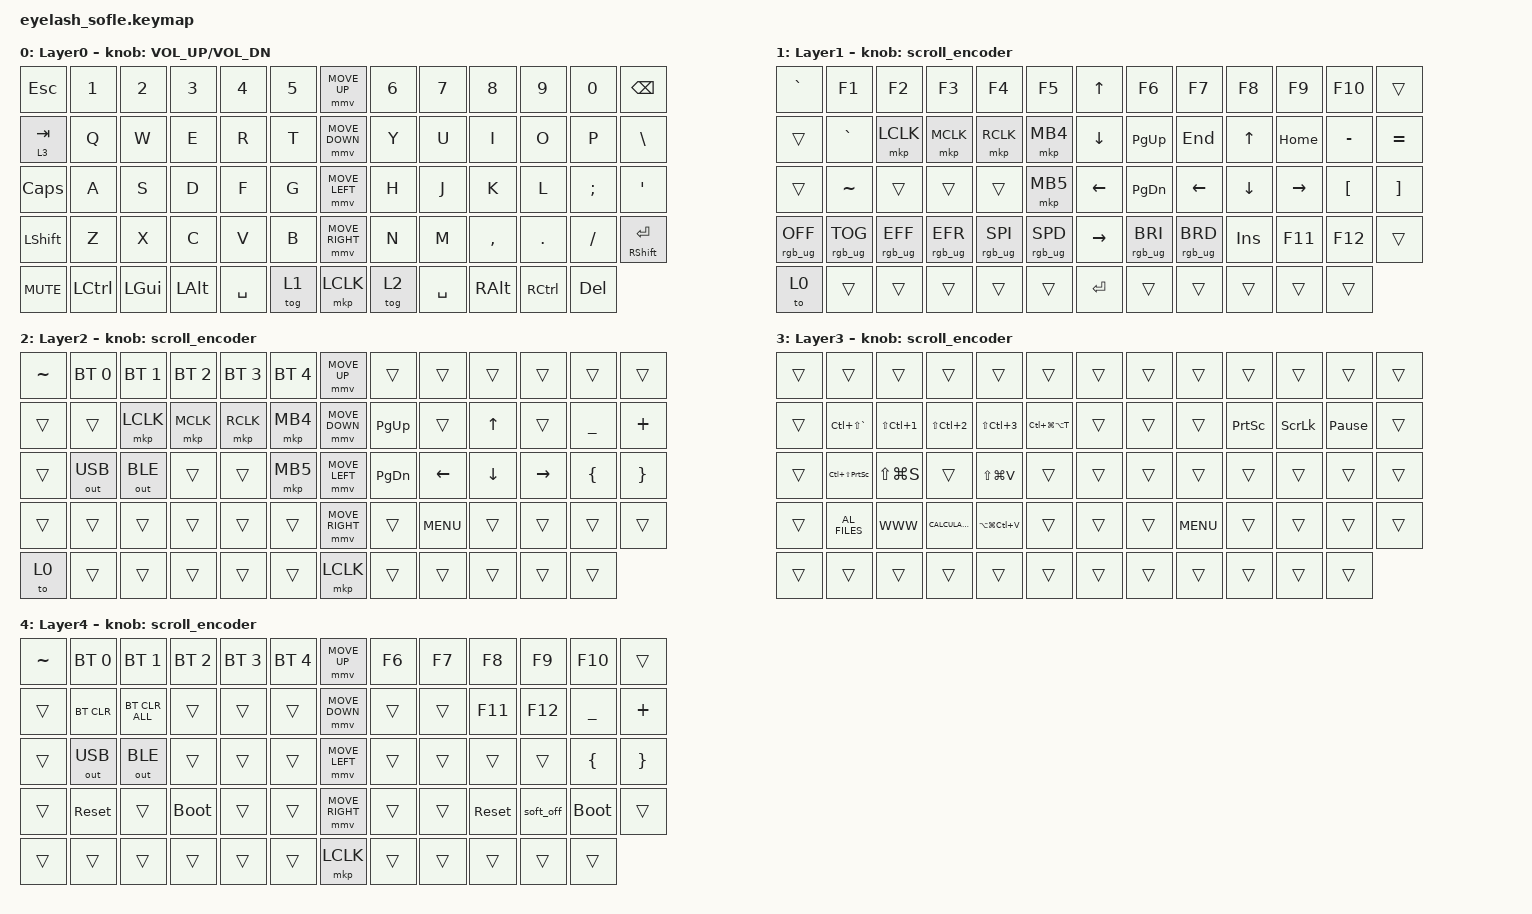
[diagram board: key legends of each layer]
#define ZMK_POINTING_DEFAULT_MOVE_VAL 1200  // 600
#define ZMK_POINTING_DEFAULT_SCRL_VAL 25   // 10

#include <input/processors.dtsi>
#include <zephyr/dt-bindings/input/input-event-codes.h>
#include <behaviors.dtsi>
#include <dt-bindings/zmk/bt.h>
#include <dt-bindings/zmk/keys.h>
#include <dt-bindings/zmk/outputs.h>
#include <dt-bindings/zmk/pointing.h>
#include <dt-bindings/zmk/rgb.h>

&mmv_input_listener { input-processors = <&zip_xy_scaler 2 1>; };

&msc_input_listener { input-processors = <&zip_scroll_scaler 2 1>; };

&msc {
    acceleration-exponent = <1>;      // 0
    time-to-max-speed-ms = <100>;       // 300
    delay-ms = <0>;                   // 0
};

&mmv {
    time-to-max-speed-ms = <500>;
    acceleration-exponent = <1>;
    trigger-period-ms = <16>;
};

&soft_off { hold-time-ms = <2000>; };

/ {
    scroll_encoder: scroll_encoder {
        compatible = "zmk,behavior-sensor-rotate";
        #sensor-binding-cells = <0>;
        bindings = <&msc SCRL_DOWN>, <&msc SCRL_UP>;

        tap-ms = <100>;
    };

    behaviors {
    };

    combos {
        compatible = "zmk,combos";

        softoff {
            bindings = <&soft_off>;
            key-positions = <40 53 54>;
        };
    };

    macros {
        SHIFT_MCLK: SHIFT_MCLK {
            compatible = "zmk,behavior-macro";
            #binding-cells = <0>;
            bindings =
                <&macro_press>,
                <&kp LEFT_SHIFT>,
                <&macro_press>,
                <&mkp MB3>,
                <&macro_pause_for_release>,
                <&macro_release>,
                <&kp LEFT_SHIFT &mkp MB3>;

            label = "SHIFT_MCLK";
        };
    };

    keymap {
        compatible = "zmk,keymap";

        layer_0 {
            bindings = <
&kp ESC     &kp N1     &kp N2        &kp N3        &kp N4     &kp N5    &mmv MOVE_UP     &kp N6  &kp N7     &kp N8         &kp N9     &kp N0      &kp BACKSPACE
&lt 3 TAB   &kp Q      &kp W         &kp E         &kp R      &kp T     &mmv MOVE_DOWN   &kp Y   &kp U      &kp I          &kp O      &kp P       &kp BSLH
&kp CAPS    &kp A      &kp S         &kp D         &kp F      &kp G     &mmv MOVE_LEFT   &kp H   &kp J      &kp K          &kp L      &kp SEMI    &kp APOS
&kp LSHFT   &kp Z      &kp X         &kp C         &kp V      &kp B     &mmv MOVE_RIGHT  &kp N   &kp M      &kp COMMA      &kp DOT    &kp FSLH    &mt RIGHT_SHIFT ENTER
&kp C_MUTE  &kp LCTRL  &kp LEFT_GUI  &kp LEFT_ALT  &kp SPACE  &tog 1    &mkp LCLK        &tog 2  &kp SPACE  &kp RIGHT_ALT  &kp RCTRL  &kp DELETE
            >;

            sensor-bindings = <&inc_dec_kp C_VOLUME_UP C_VOL_DN>;
            display-name = "Layer0";
        };

        layer_1 {
            bindings = <
&kp GRAVE        &kp F1           &kp F2           &kp F3           &kp F4           &kp F5             &kp UP     &kp F6           &kp F7           &kp F8      &kp F9     &kp F10           &trans
&trans           &kp GRAVE        &mkp LCLK        &mkp MCLK        &mkp RCLK        &mkp MB4           &kp DOWN   &kp PG_UP        &kp END          &kp UP      &kp HOME   &kp MINUS         &kp EQUAL
&trans           &kp TILDE        &trans           &trans           &trans           &mkp MB5           &kp LEFT   &kp PG_DN        &kp LEFT         &kp DOWN    &kp RIGHT  &kp LEFT_BRACKET  &kp RIGHT_BRACKET
&rgb_ug RGB_OFF  &rgb_ug RGB_TOG  &rgb_ug RGB_EFF  &rgb_ug RGB_EFR  &rgb_ug RGB_SPI  &rgb_ug RGB_SPD    &kp RIGHT  &rgb_ug RGB_BRI  &rgb_ug RGB_BRD  &kp INSERT  &kp F11    &kp F12           &trans
&to 0            &trans           &trans           &trans           &trans           &trans             &kp RET    &trans           &trans           &trans      &trans     &trans
            >;

            display-name = "Layer1";
            sensor-bindings = <&scroll_encoder>;
        };

        layer_2 {
            display-name = "Layer2";
            bindings = <
&kp TILDE  &bt BT_SEL 0  &bt BT_SEL 1  &bt BT_SEL 2  &bt BT_SEL 3  &bt BT_SEL 4    &mmv MOVE_UP     &trans     &trans      &trans    &trans     &trans     &trans
&trans     &trans        &mkp LCLK     &mkp MCLK     &mkp RCLK     &mkp MB4        &mmv MOVE_DOWN   &kp PG_UP  &trans      &kp UP    &trans     &kp UNDER  &kp PLUS
&trans     &out OUT_USB  &out OUT_BLE  &trans        &trans        &mkp MB5        &mmv MOVE_LEFT   &kp PG_DN  &kp LEFT    &kp DOWN  &kp RIGHT  &kp LBRC   &kp RBRC
&trans     &trans        &trans        &trans        &trans        &trans          &mmv MOVE_RIGHT  &trans     &kp K_MENU  &trans    &trans     &trans     &trans
&to 0      &trans        &trans        &trans        &trans        &trans          &mkp LCLK        &trans     &trans      &trans    &trans     &trans
            >;

            sensor-bindings = <&scroll_encoder>;
        };

        layer_3 {
            bindings = <
&trans  &trans                   &trans                &trans                &trans                &trans               &trans  &trans  &trans      &trans           &trans          &trans           &trans
&trans  &kp LC(LS(GRAVE))        &kp LS(LC(NUMBER_1))  &kp LS(LC(NUMBER_2))  &kp LS(LC(NUMBER_3))  &kp LC(LG(LA(T)))    &trans  &trans  &trans      &kp PRINTSCREEN  &kp SCROLLLOCK  &kp PAUSE_BREAK  &trans
&trans  &kp LC(LS(PRINTSCREEN))  &kp LS(LG(S))         &trans                &kp LS(LG(V))         &trans               &trans  &trans  &trans      &trans           &trans          &trans           &trans
&trans  &kp C_AL_FILES           &kp K_WWW             &kp K_CALCULATOR      &kp LA(LG(LC(V)))     &trans               &trans  &trans  &kp K_MENU  &trans           &trans          &trans           &trans
&trans  &trans                   &trans                &trans                &trans                &trans               &trans  &trans  &trans      &trans           &trans          &trans
            >;

            display-name = "Layer3";
            sensor-bindings = <&scroll_encoder>;
        };

        layer_4 {
            bindings = <
&kp TILDE  &bt BT_SEL 0  &bt BT_SEL 1    &bt BT_SEL 2  &bt BT_SEL 3  &bt BT_SEL 4    &mmv MOVE_UP     &kp F6  &kp F7  &kp F8      &kp F9     &kp F10      &trans
&trans     &bt BT_CLR    &bt BT_CLR_ALL  &trans        &trans        &trans          &mmv MOVE_DOWN   &trans  &trans  &kp F11     &kp F12    &kp UNDER    &kp PLUS
&trans     &out OUT_USB  &out OUT_BLE    &trans        &trans        &trans          &mmv MOVE_LEFT   &trans  &trans  &trans      &trans     &kp LBRC     &kp RBRC
&trans     &sys_reset    &trans          &bootloader   &trans        &trans          &mmv MOVE_RIGHT  &trans  &trans  &sys_reset  &soft_off  &bootloader  &trans
&trans     &trans        &trans          &trans        &trans        &trans          &mkp LCLK        &trans  &trans  &trans      &trans     &trans
            >;

            display-name = "Layer4";
            sensor-bindings = <&scroll_encoder>;
        };
    };
};
